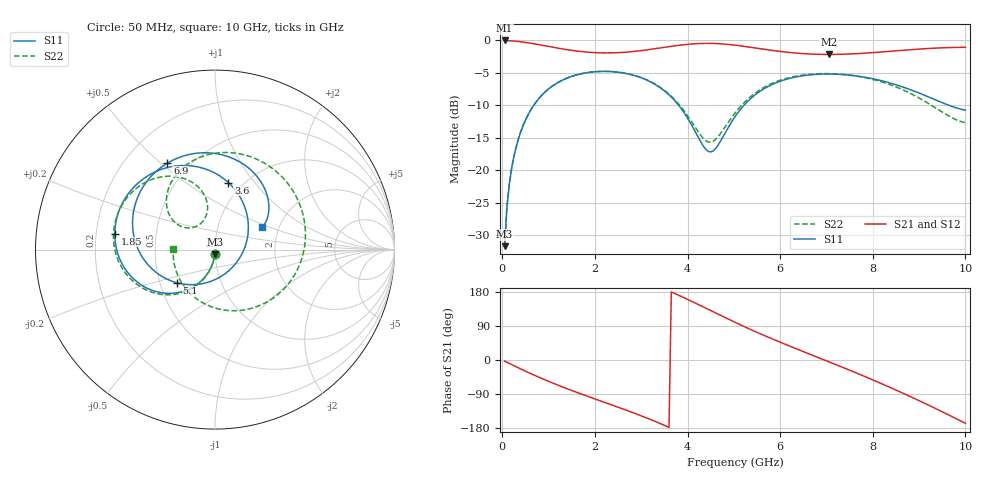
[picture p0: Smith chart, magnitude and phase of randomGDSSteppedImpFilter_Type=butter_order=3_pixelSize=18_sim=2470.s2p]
! freq	dB(S11)	phase(S11)	dB(S12)	phase(S12)
!  dB(S21)	phase(S21)	dB(S22)	phase(S22)
!S-par simulation data
#  GHz  S  DB  R 50
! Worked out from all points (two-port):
!   200 points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, 50 MHz to 10 GHz, reference 50 ohm
!   highest |S21| = -0.01 dB at 50 MHz (marker M1); lowest = -2.2 dB at 7.05 GHz (marker M2)
!   |S21| within 3 dB of the highest: start of sweep to end of sweep
!   lowest |S11| = -31.7 dB at 50 MHz (marker M3), VSWR 1.05, Z = 49.8 - j2.59 ohm
!   |S11| at or under -10 dB: start of sweep to 679.9 MHz; 3.808 GHz to 5.218 GHz (1.41 GHz wide, 31.3 % of centre); 9.645 GHz to end of sweep
!   |S22| runs from -31.7 to -4.8 dB; largest |S21 - S12| = 0
!   S11 on the Smith chart (normalised r, x): 50 MHz: 1.00, -0.05; 1.85 GHz: 0.28, +0.07; 3.6 GHz: 0.86, +0.75; 5.1 GHz: 0.61, -0.25; 6.9 GHz: 0.38, +0.53; 10 GHz: 1.63, +0.45
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0.05  -31.70 -93.2  -0.01 -3.0  -0.01 -3.0  -31.70 -93.1
0.1  -25.71 -96.4  -0.02 -6.1  -0.02 -6.1  -25.71 -96.2
0.2  -19.79 -102.7  -0.07 -12.0  -0.07 -12.0  -19.79 -102.3
0.5  -12.29 -120.5  -0.31 -29.5  -0.31 -29.5  -12.29 -119.5
1.05  -7.20 -150.6  -1.00 -58.9  -1.00 -58.9  -7.19 -148.2
1.75  -5.07 175.5  -1.75 -91.7  -1.75 -91.7  -5.07 -179.8
1.85  -4.95 170.9  -1.81 -96.1  -1.81 -96.1  -4.95 176.0
2.75  -5.22 128.5  -1.76 -135.7  -1.76 -135.7  -5.20 139.7
3.4  -7.24 92.2  -1.17 -167.1  -1.17 -167.1  -7.16 114.5
3.6  -8.39 78.6  -0.96 -177.6  -0.96 -177.6  -8.27 107.6
4.05  -12.56 38.1  -0.57 157.1  -0.57 157.1  -12.11 99.7
4.45  -17.11 -32.3  -0.45 133.4  -0.45 133.4  -15.65 120.3
5.05  -11.50 -134.2  -0.75 98.0  -0.75 98.0  -10.97 145.3
5.1  -11.02 -138.9  -0.80 95.1  -0.80 95.1  -10.54 144.4
5.85  -6.72 169.5  -1.56 54.6  -1.56 54.6  -6.54 117.1
6.7  -5.27 127.6  -2.11 12.5  -2.11 12.5  -5.18 76.4
6.9  -5.19 118.8  -2.15 2.8  -2.15 2.8  -5.12 66.1
7.05  -5.18 112.3  -2.16 -4.6  -2.16 -4.6  -5.12 58.1
7.75  -5.58 83.6  -2.00 -39.5  -2.00 -39.5  -5.62 18.3
8.35  -6.51 61.0  -1.69 -71.1  -1.69 -71.1  -6.76 -20.7
9.15  -8.55 36.6  -1.27 -116.0  -1.27 -116.0  -9.49 -84.3
10  -10.75 25.5  -1.06 -166.9  -1.06 -166.9  -12.68 179.4
